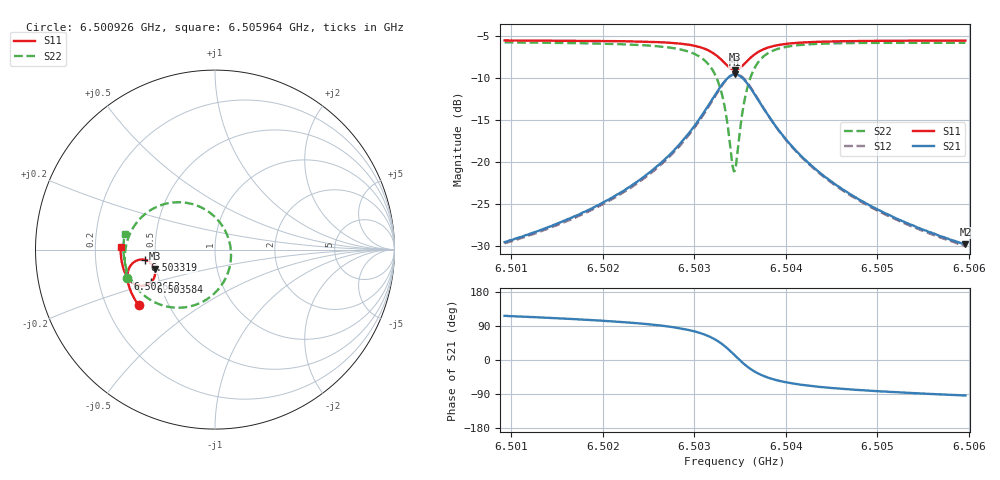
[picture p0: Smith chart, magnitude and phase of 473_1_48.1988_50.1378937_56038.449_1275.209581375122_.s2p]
#  HZ  S  RI  R  50.00
! Rohde & Schwarz Vector Network Analyzer
! Rohde-Schwarz,ZNB20-2Port,1311601062101988,3.16
! Created: UTC 3/20/2024, 11:57:13 AM
! freq[Hz]  re:S11  im:S11  re:S21  im:S21  re:S12  im:S12  re:S22  im:S22
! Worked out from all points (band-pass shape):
!   401 points, 6.500926 GHz to 6.505964 GHz, reference 50 ohm
!   highest |S21| = -9.61 dB at 6.503445 GHz (marker M1); lowest = -29.8 dB at 6.505964 GHz (marker M2)
!   |S21| within 3 dB of the highest: 6.503194 GHz to 6.503697 GHz (503.8 kHz wide, 0.00775 % of centre)
!   lowest |S11| = -9.1 dB at 6.503445 GHz (marker M3), VSWR 2.09, Z = 24.4 - j5.9 ohm
!   |S11| at or under -10 dB: nowhere
!   |S22| runs from -21.1 to -5.8 dB; largest |S21 - S12| = 0.012
!   S11 on the Smith chart (normalised r, x): 6.500926 GHz: 0.34, -0.29; 6.502652 GHz: 0.33, -0.14; 6.503319 GHz: 0.44, -0.06; 6.503584 GHz: 0.45, -0.19; 6.505964 GHz: 0.31, +0.01
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6.5009261e9  -0.4255 -0.3106  -0.0149 0.0299  -0.0132 0.0301  -0.4887 -0.1574
6.5017699e9  -0.4618 -0.2485  -0.0143 0.0477  -0.012 0.0473  -0.5024 -0.068
6.5022233e9  -0.4779 -0.2084  -0.0115 0.0662  -0.0085 0.0654  -0.4999 -0.00429
6.5026138e9  -0.4873 -0.1655  -0.00233 0.0964  0.00127 0.0942  -0.4803 0.073
6.5026516e9  -0.4878 -0.1606  -0.000572 0.1007  0.00313 0.0982  -0.4765 0.0824
6.5029287e9  -0.4838 -0.1175  0.026 0.1432  0.0297 0.1388  -0.4213 0.1683
6.5031176e9  -0.4625 -0.0794  0.0799 0.1853  0.0825 0.1792  -0.3179 0.241
6.5032309e9  -0.4299 -0.0587  0.1493 0.2032  0.1502 0.197  -0.1934 0.2638
6.5033191e9  -0.3892 -0.0569  0.2291 0.1872  0.2294 0.1821  -0.0557 0.2237
6.5033569e9  -0.3697 -0.0645  0.2656 0.164  0.2665 0.1595  0.00494 0.1766
6.5034198e9  -0.3428 -0.0914  0.3138 0.0997  0.3165 0.095  0.0777 0.0533
6.503445e9  -0.3363 -0.106  0.324 0.0673  0.3276 0.0616  0.0887 -0.00735
6.5034702e9  -0.3333 -0.122  0.3277 0.0333  0.3316 0.0264  0.0869 -0.0693
6.5035332e9  -0.3404 -0.1595  0.3095 -0.0452  0.3118 -0.0552  0.0309 -0.2057
6.5035836e9  -0.357 -0.1817  0.2759 -0.0911  0.2757 -0.1023  -0.0457 -0.2772
6.5036969e9  -0.4016 -0.2012  0.191 -0.136  0.1857 -0.1457  -0.2176 -0.3236
6.5038607e9  -0.4481 -0.1917  0.1089 -0.1327  0.1018 -0.1379  -0.3656 -0.2767
6.504037e9  -0.4755 -0.1702  0.0641 -0.1124  0.0578 -0.1147  -0.438 -0.2115
6.5042889e9  -0.4964 -0.1402  0.034 -0.088  0.0293 -0.0886  -0.4814 -0.1392
6.5046919e9  -0.5126 -0.0984  0.0142 -0.0634  0.0109 -0.0632  -0.5047 -0.0599
6.5051327e9  -0.5213 -0.0577  0.00491 -0.0481  0.00282 -0.0474  -0.5102 0.00146
6.505964e9  -0.526 0.0128  -0.002 -0.0323  -0.00338 -0.0315  -0.5023 0.0893
